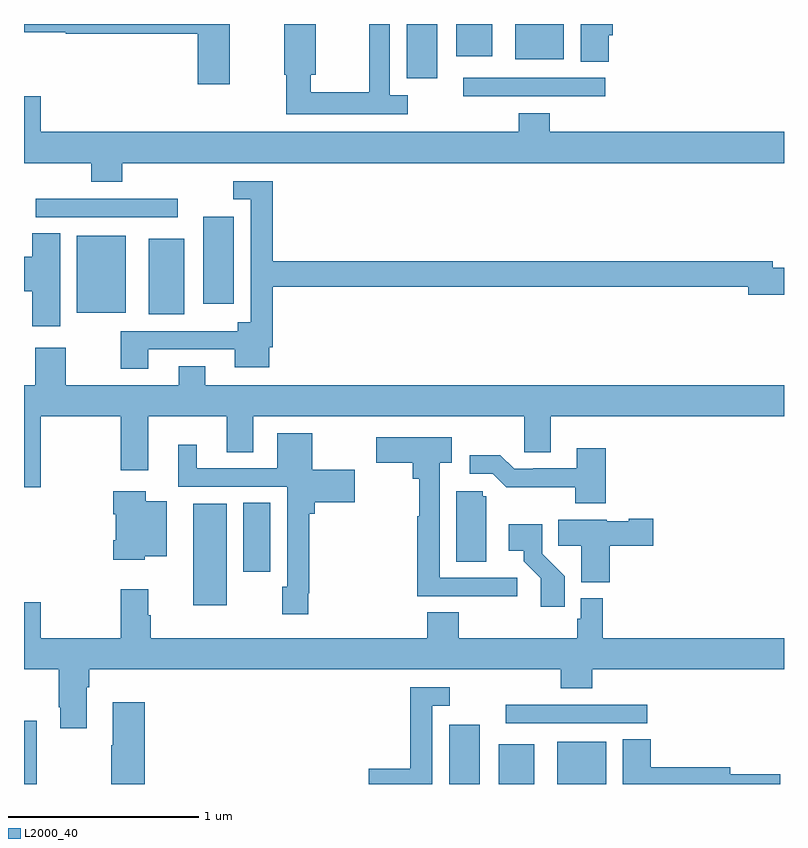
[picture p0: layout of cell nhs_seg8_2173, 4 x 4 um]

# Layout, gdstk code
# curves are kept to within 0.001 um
import gdstk
lib = gdstk.Library(unit=1e-6, precision=1e-09)
def R(c, l, rs):  # rectangles x0, y0, x1, y1
    for r in rs: c.add(gdstk.rectangle(r[:2], r[2:], *l))
def P(c, l, *ps):  # polygons
    for p in ps: c.add(gdstk.Polygon(p, *l))
L2000_40 = (2000, 40)

nhs_seg8_2173 = lib.new_cell('nhs_seg8_2173')
R(nhs_seg8_2173, L2000_40, [(249,1111.9,249.067,1112.233), (251.237,1111.9,251.398,1112.212), (251.498,1111.9,251.686,1112.11), (251.807,1111.9,252.064,1112.122), (251.535,1112.22,252.28,1112.316), (249.89,1112.84,250.066,1113.376), (250.154,1113.018,250.297,1113.38), (249.656,1114.373,249.844,1114.771), (249.278,1114.379,249.535,1114.786), (249.944,1114.428,250.105,1114.885), (249.063,1114.884,249.808,1114.98), (251.313,1115.52,252.058,1115.616), (251.015,1115.615,251.176,1115.9), (251.585,1115.714,251.842,1115.9), (251.276,1115.729,251.464,1115.9)])
P(nhs_seg8_2173, L2000_40, [(251.02,1115.524),(250.926,1115.524),(250.926,1115.9),(250.818,1115.9),(250.818,1115.54),(250.51,1115.54),(250.51,1115.633),(250.536,1115.633),(250.536,1115.9),(250.37,1115.9),(250.37,1115.633),(250.381,1115.633),(250.381,1115.424),(251.02,1115.424)],
  [(250.084,1115.9),(249,1115.9),(249,1115.856),(249.219,1115.856),(249.219,1115.848),(249.914,1115.848),(249.914,1115.583),(250.084,1115.583)],
  [(252.077,1115.841),(252.098,1115.841),(252.098,1115.9),(251.93,1115.9),(251.93,1115.701),(252.077,1115.701)],
  [(249.518,1115.168),(253,1115.168),(253,1115.332),(251.768,1115.332),(251.768,1115.431),(251.603,1115.431),(251.603,1115.332),(249.088,1115.332),(249.088,1115.521),(249,1115.521),(249,1115.168),(249.353,1115.168),(249.353,1115.069),(249.518,1115.069)],
  [(249.655,1114.188),(250.109,1114.188),(250.109,1114.094),(250.291,1114.094),(250.291,1114.198),(250.31,1114.198),(250.31,1114.516),(252.812,1114.516),(252.812,1114.474),(253,1114.474),(253,1114.616),(252.94,1114.616),(252.94,1114.652),(250.31,1114.652),(250.31,1115.073),(250.101,1115.073),(250.101,1114.977),(250.194,1114.977),(250.194,1114.33),(250.124,1114.33),(250.124,1114.284),(249.508,1114.284),(249.508,1114.086),(249.655,1114.086)],
  [(249.19,1114.799),(249.044,1114.799),(249.044,1114.676),(249,1114.676),(249,1114.493),(249.044,1114.493),(249.044,1114.308),(249.19,1114.308)],
  [(249.088,1113.836),(249.508,1113.836),(249.508,1113.552),(249.655,1113.552),(249.655,1113.836),(250.067,1113.836),(250.067,1113.646),(250.207,1113.646),(250.207,1113.836),(251.634,1113.836),(251.634,1113.646),(251.773,1113.646),(251.773,1113.836),(253,1113.836),(253,1114),(249.955,1114),(249.955,1114.099),(249.815,1114.099),(249.815,1114),(249.219,1114),(249.219,1114.195),(249.059,1114.195),(249.059,1114),(249,1114),(249,1113.462),(249.088,1113.462)],
  [(250.495,1112.905),(250.502,1112.905),(250.502,1113.323),(250.529,1113.323),(250.529,1113.383),(250.741,1113.383),(250.741,1113.553),(250.516,1113.553),(250.516,1113.745),(250.334,1113.745),(250.334,1113.561),(249.91,1113.561),(249.91,1113.685),(249.812,1113.685),(249.812,1113.465),(250.386,1113.465),(250.386,1112.937),(250.36,1112.937),(250.36,1112.793),(250.495,1112.793)],
  [(251.596,1112.985),(251.187,1112.985),(251.187,1113.59),(251.251,1113.59),(251.251,1113.724),(250.854,1113.724),(250.854,1113.59),(251.047,1113.59),(251.047,1113.506),(251.079,1113.506),(251.079,1113.31),(251.071,1113.31),(251.071,1112.889),(251.371,1112.889),(251.371,1112.887),(251.596,1112.887)],
  [(252.062,1113.667),(251.909,1113.667),(251.909,1113.561),(251.68,1113.561),(251.68,1113.558),(251.58,1113.558),(251.507,1113.631),(251.346,1113.631),(251.346,1113.534),(251.466,1113.534),(251.539,1113.461),(251.902,1113.462),(251.902,1113.377),(252.062,1113.377)],
  [(249.636,1113.098),(249.751,1113.098),(249.751,1113.388),(249.64,1113.388),(249.64,1113.442),(249.47,1113.442),(249.47,1113.32),(249.482,1113.32),(249.482,1113.184),(249.47,1113.184),(249.47,1113.08),(249.636,1113.08)],
  [(251.434,1113.414),(251.415,1113.414),(251.415,1113.441),(251.276,1113.441),(251.276,1113.07),(251.434,1113.07)],
  [(252.083,1113.154),(252.313,1113.154),(252.313,1113.296),(252.183,1113.296),(252.183,1113.283),(252.066,1113.283),(252.066,1113.292),(251.812,1113.292),(251.812,1113.154),(251.933,1113.154),(251.933,1112.963),(252.083,1112.963)],
  [(251.846,1112.994),(251.727,1113.113),(251.727,1113.268),(251.55,1113.268),(251.55,1113.128),(251.63,1113.128),(251.63,1113.073),(251.721,1112.983),(251.721,1112.832),(251.846,1112.832)],
  [(249.331,1112.408),(249.344,1112.408),(249.344,1112.504),(251.825,1112.504),(251.825,1112.405),(251.99,1112.405),(251.99,1112.504),(253,1112.504),(253,1112.668),(252.047,1112.668),(252.047,1112.878),(251.931,1112.878),(251.931,1112.769),(251.911,1112.769),(251.911,1112.668),(251.288,1112.668),(251.288,1112.804),(251.123,1112.804),(251.123,1112.668),(249.668,1112.668),(249.668,1112.789),(249.655,1112.789),(249.655,1112.926),(249.508,1112.926),(249.508,1112.668),(249.088,1112.668),(249.088,1112.857),(249,1112.857),(249,1112.504),(249.184,1112.504),(249.184,1112.305),(249.191,1112.305),(249.191,1112.193),(249.331,1112.193)],
  [(251.148,1112.313),(251.242,1112.313),(251.242,1112.409),(251.032,1112.409),(251.032,1111.981),(250.814,1111.981),(250.814,1111.9),(251.148,1111.9)],
  [(249.635,1112.329),(249.467,1112.329),(249.467,1112.105),(249.46,1112.105),(249.46,1111.9),(249.635,1111.9)],
  [(252.979,1111.952),(252.718,1111.952),(252.718,1111.988),(252.299,1111.988),(252.299,1112.135),(252.152,1112.135),(252.152,1111.9),(252.979,1111.9)])

lib.write_gds('nhs_seg8_2173.gds')
